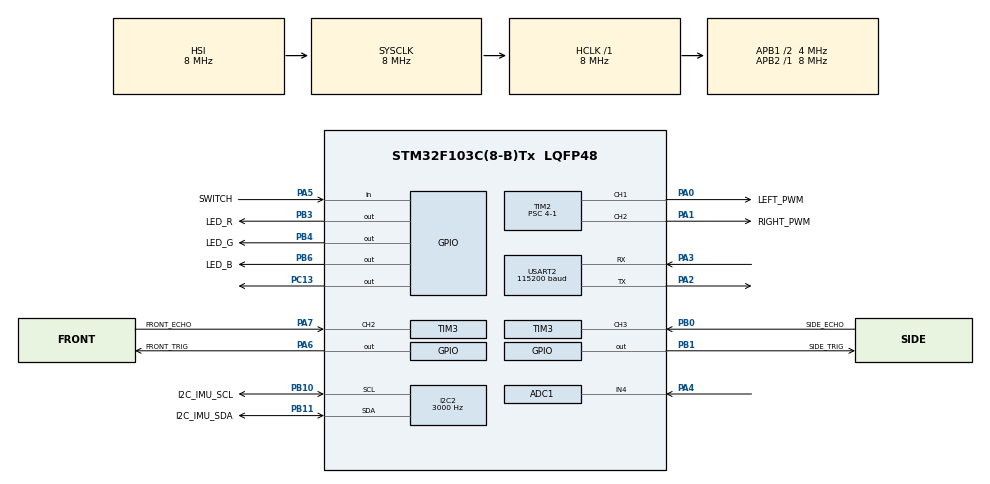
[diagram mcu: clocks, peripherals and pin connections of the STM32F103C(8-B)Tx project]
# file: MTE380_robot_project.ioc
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ADC1.Channel-2\#ChannelRegularConversion=ADC_CHANNEL_4
ADC1.NbrOfConversionFlag=1
ADC1.Rank-2\#ChannelRegularConversion=1
ADC1.SamplingTime-2\#ChannelRegularConversion=ADC_SAMPLETIME_1CYCLE_5
ADC1.master=1
I2C2.ClockSpeed=3000
I2C2.I2C_Mode=I2C_Standard
I2C2.OwnAddress=0x69
Mcu.Family=STM32F1
Mcu.Name=STM32F103C(8-B)Tx
Mcu.Package=LQFP48
NVIC.I2C2_ER_IRQn=true\:0\:0\:true\:false\:true\:true\:true\:true
NVIC.PriorityGroup=NVIC_PRIORITYGROUP_4
NVIC.TIM3_IRQn=true\:0\:0\:false\:false\:true\:true\:true\:true
NVIC.USART2_IRQn=true\:0\:0\:false\:false\:true\:true\:true\:true
PA0-WKUP.GPIO_Label=LEFT_PWM
PA0-WKUP.Signal=S_TIM2_CH1_ETR
PA1.GPIO_Label=RIGHT_PWM
PA1.Signal=S_TIM2_CH2
PA13.Mode=Serial_Wire
PA13.Signal=SYS_JTMS-SWDIO
PA14.Mode=Serial_Wire
PA14.Signal=SYS_JTCK-SWCLK
PA2.Mode=Asynchronous
PA2.Signal=USART2_TX
PA3.Mode=Asynchronous
PA3.Signal=USART2_RX
PA4.Signal=ADCx_IN4
PA5.GPIO_Label=SWITCH
PA5.Signal=GPIO_Input
PA6.GPIO_Label=FRONT_TRIG
PA6.GPIO_PuPd=GPIO_PULLDOWN
PA6.Signal=GPIO_Output
PA7.GPIO_Label=FRONT_ECHO
PA7.Signal=S_TIM3_CH2
PB0.GPIO_Label=SIDE_ECHO
PB0.Signal=S_TIM3_CH3
PB1.GPIO_Label=SIDE_TRIG
PB1.GPIO_PuPd=GPIO_PULLDOWN
PB1.Signal=GPIO_Output
PB10.GPIO_Label=I2C_IMU_SCL
PB10.GPIO_Pu=GPIO_PULLUP
PB10.Mode=I2C
PB10.Signal=I2C2_SCL
PB11.GPIO_Label=I2C_IMU_SDA
PB11.GPIO_Pu=GPIO_PULLUP
PB11.Mode=I2C
PB11.Signal=I2C2_SDA
PB3.GPIO_Label=LED_R
PB3.Signal=GPIO_Output
PB4.GPIO_Label=LED_G
PB4.Signal=GPIO_Output
PB6.GPIO_Label=LED_B
PB6.Signal=GPIO_Output
PC13-TAMPER-RTC.Signal=GPIO_Output
PC14-OSC32_IN.Signal=RCC_OSC32_IN
PC15-OSC32_OUT.Signal=RCC_OSC32_OUT
PD0-OSC_IN.Mode=HSE-External-Oscillator
PD0-OSC_IN.Signal=RCC_OSC_IN
PD1-OSC_OUT.Mode=HSE-External-Oscillator
PD1-OSC_OUT.Signal=RCC_OSC_OUT
ProjectManager.HeapSize=0x200
ProjectManager.StackSize=0x400
ProjectManager.TargetToolchain=STM32CubeIDE
RCC.ADCPresc=RCC_ADCPCLK2_DIV6
RCC.AHBFreq_Value=8000000
RCC.APB1CLKDivider=RCC_HCLK_DIV2
RCC.APB1Freq_Value=4000000
RCC.APB1TimFreq_Value=8000000
RCC.APB2Freq_Value=8000000
RCC.APB2TimFreq_Value=8000000
RCC.HCLKFreq_Value=8000000
RCC.SYSCLKFreq_VALUE=8000000
RCC.USBFreq_Value=8000000
SH.ADCx_IN4.0=ADC1_IN4,IN4
SH.S_TIM2_CH1_ETR.0=TIM2_CH1,PWM Generation1 CH1
SH.S_TIM2_CH2.0=TIM2_CH2,PWM Generation2 CH2
SH.S_TIM3_CH2.0=TIM3_CH2,Input_Capture2_from_TI2
SH.S_TIM3_CH3.0=TIM3_CH3,Input_Capture3_from_TI3
TIM2.AutoReloadPreload=TIM_AUTORELOAD_PRELOAD_ENABLE
TIM2.Channel-PWM\ Generation1\ CH1=TIM_CHANNEL_1
TIM2.Channel-PWM\ Generation2\ CH2=TIM_CHANNEL_2
TIM2.OCFastMode_PWM-PWM\ Generation2\ CH2=TIM_OCFAST_DISABLE
TIM2.OCMode_PWM-PWM\ Generation1\ CH1=TIM_OCMODE_PWM1
TIM2.Period=40000-1
TIM2.Prescaler=4-1
TIM2.Pulse-PWM\ Generation1\ CH1=2000
TIM2.Pulse-PWM\ Generation2\ CH2=2000
TIM3.AutoReloadPreload=TIM_AUTORELOAD_PRELOAD_ENABLE
TIM3.Channel-Input_Capture2_from_TI2=TIM_CHANNEL_2
TIM3.Channel-Input_Capture3_from_TI3=TIM_CHANNEL_3
TIM3.Prescaler=8-1
USART2.BaudRate=115200
USART2.VirtualMode=VM_ASYNC
VP_TIM2_VS_ClockSourceINT.Mode=Internal
VP_TIM3_VS_ClockSourceINT.Mode=Internal
board=custom

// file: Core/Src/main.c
/* USER CODE BEGIN Header */
/**
  ******************************************************************************
  * @file           : main.c
  * @brief          : Main program body
  ******************************************************************************
  * @attention
  *
  * <h2><center>&copy; Copyright (c) 2022 STMicroelectronics.
  * All rights reserved.</center></h2>
  *
  * This software component is licensed by ST under BSD 3-Clause license,
  * the "License"; You may not use this file except in compliance with the
  * License. You may obtain a copy of the License at:
  *                        opensource.org/licenses/BSD-3-Clause
  *
  ******************************************************************************
  */
/* USER CODE END Header */
#include "main.h"

 ADC_HandleTypeDef hadc1;

I2C_HandleTypeDef hi2c2;

TIM_HandleTypeDef htim2;
TIM_HandleTypeDef htim3;

UART_HandleTypeDef huart2;

void SystemClock_Config(void);
static void MX_GPIO_Init(void);
static void MX_USART2_UART_Init(void);
static void MX_I2C2_Init(void);
static void MX_ADC1_Init(void);
static void MX_TIM2_Init(void);
static void MX_TIM3_Init(void);
/* USER CODE BEGIN PFP */
void delay_us (uint32_t us);
/* USER CODE END PFP */

/* USER CODE BEGIN 0 */
void HAL_UART_RxCpltCallback(UART_HandleTypeDef *huart) {
	HAL_UART_Receive_IT(&huart2, UART2_rxBuffer, RX_BUFF_SIZE);
	ESP_Receive(&htim3, &hi2c2, &UART2_rxBuffer, &huart2);
	memset(UART2_rxBuffer, 0, RX_BUFF_SIZE);
}

void HAL_UART_ErrorCallback(UART_HandleTypeDef *huart) {
	HAL_UART_Receive_IT(&huart2, UART2_rxBuffer, RX_BUFF_SIZE);
}

/* USER CODE END 0 */

int main(void)
{
  /* USER CODE BEGIN 1 */
	uint8_t MSG[70] = { '\0' };
	double speed = 15;

  /* USER CODE END 1 */

  /* MCU Configuration--------------------------------------------------------*/

  /* Reset of all peripherals, Initializes the Flash interface and the Systick. */
  HAL_Init();

  /* Configure the system clock */
  SystemClock_Config();

  /* Initialize all configured peripherals */
  MX_GPIO_Init();
  MX_USART2_UART_Init();
  MX_I2C2_Init();
  MX_ADC1_Init();
  MX_TIM2_Init();
  MX_TIM3_Init();
  /* USER CODE BEGIN 2 */

  // Start Timer 2 for ESC signal
  HAL_TIM_Base_Start(&htim2);
  HAL_TIM_PWM_Start(&htim2, TIM_CHANNEL_1); // start PWM signal at 1ms (0 speed)
  HAL_TIM_PWM_Start(&htim2, TIM_CHANNEL_2); // start PWM signal at 1ms (0 speed)

  // Initialize Timer 3 for Ultrasonic sensors
  HAL_TIM_Base_Start_IT(&htim3);
  HAL_TIM_IC_Start_IT(&htim3, TIM_CHANNEL_2); // enable interrupt on TIM3 CH2
  HAL_TIM_IC_Start_IT(&htim3, TIM_CHANNEL_3); // enable interrupt on TIM3 CH3

//  // ESC Calibration Procedure
//  drive_forward(100);
//  HAL_Delay(6000);
//  stop();
  HAL_Delay(2000);

  // IMU Calibration
  ICM_PowerOn(&hi2c2);
  HAL_Delay(10);
  ICM20948_Calibrate(&hi2c2);
  HAL_Delay(100);
  ICM_SelectBank(&hi2c2, USER_BANK_0);
  HAL_Delay(1);

  HAL_UART_Receive_IT(&huart2, UART2_rxBuffer, RX_BUFF_SIZE); // where should this go?

  for (int i=0; i<5; i++){
	  HCSR04_Read_Front(&htim3);
	  double ultrasonic_dist = get_front_distance();
	  HAL_Delay(20);
	  HCSR04_Read_Side(&htim3);
	  ultrasonic_dist = get_side_distance();
	  HAL_Delay(20);
  }
  /* USER CODE END 2 */

  /* Infinite loop */
  /* USER CODE BEGIN WHILE */
  while (1)
  {
	IMU_Init();
	reset_pose();
	reset_PID_controller();
//    DRIVE DISTANCE WITH ULTRASONIC w TURN ----------------------
	HCSR04_Read_Front(&htim3);
	double ultrasonic_dist = get_front_distance();
	HAL_Delay(16);
	HCSR04_Read_Side(&htim3);
	double ultrasonic_dist_side = get_side_distance();
	HAL_Delay(16);
////	sprintf(MSG, "<F_ULT %4.3f >", ultrasonic_dist);
////	HAL_UART_Transmit(&huart2, MSG, sizeof(MSG), 100);
////	memset(MSG, 0, 70);
//	double dist_cm = 15;
//	double side_dist = 12;
//	drive_until(&htim3, &hi2c2, speed, dist_cm, side_dist); // distance in cm
//	turn_degree(&hi2c2, 90);
//	HAL_Delay(2000);

	drive_course(&htim3, &hi2c2, speed);
//	get_imu_data(&hi2c2);
//	for (int i = 0; i<400; i++){
//		drive_straight_PID(25, &hi2c2, curr_pose.yaw, curr_pose.dt);
//		HAL_Delay(10);
//	}
//	stop();

	HAL_Delay(5000);

// Just drive straight for a bit
//
//	accelerate(&htim3, &hi2c2, speed);
//
//	for (int i=0; i < 250; i++){
//		drive_straight_PID(speed, &hi2c2, curr_pose.yaw, curr_pose.dt);
//		get_imu_data(&hi2c2); // calculate yaw
//		HAL_Delay(10);
//	}
//
//	decelerate(&hi2c2, speed);

	// Print uWu

//	sprintf(MSG, "<dt %4.3f yaw %4.3f c_yaw %4.3f F_ULT %4.3f >", curr_pose.dt, curr_pose.yaw, -curr_pose.yaw - 90, ultrasonic_dist);
//	sprintf(MSG, "<dt %4.3f yaw %4.3f c_yaw %4.3f F_ULT %4.3f S_ULT %4.3f >\n", curr_pose.dt, curr_pose.yaw, -curr_pose.yaw - 90, ultrasonic_dist, ultrasonic_dist_side);
//	HAL_UART_Transmit(&huart2, MSG, sizeof(MSG), 100);
	HAL_Delay(3000);
	memset(MSG, 0, 70);

  // dashboard example ?
  // sprintf(MSG, "%4.3f %4.3f %4.3f %4.3f %4.3f %4.3f %4.3f \n", dt, yaw_main, front_dist, side_dist, corr_gyro_data[0], corr_gyro_data[1], corr_gyro_data[2]);
  // sprintf(MSG, "%4.3f %4.3f %4.3f %4.3f %4.3f %4.3f %4.3f \n", 1234.567, 1234.567, 1234.567, 1234.567, 1234.567, 1234.567, 1234.567);
  // sprintf(MSG, "%4.3f %4.3f %4.3f %4.3f %4.3f %4.3f %4.3f \n", 1234.567, 1234.567, 1234.567, 1234.567, 1234.567, 1234.567, 1234.567);
  // strcpy(MSG, "1234.567 1234.567 1234.567 1234.567 1234.567 1234.567 1234.567 \n");
  // HAL_UART_Transmit(&huart2, MSG, sizeof(MSG), 100);
  // memset(MSG, 0, 70);
  // strcpy(MSG, "0.0 0.0 0.0 0.0 0.0 0.0 0.0 \n");
  // HAL_UART_Transmit(&huart2, MSG, sizeof(MSG), 100);
  // HAL_GPIO_TogglePin(GPIOC, GPIO_PIN_13);
  // HAL_Delay(100);
  // memset(MSG, 0, 70);

    /* USER CODE END WHILE */

  }
}

void SystemClock_Config(void)
{
  RCC_OscInitTypeDef RCC_OscInitStruct = {0};
  RCC_ClkInitTypeDef RCC_ClkInitStruct = {0};
  RCC_PeriphCLKInitTypeDef PeriphClkInit = {0};

  /** Initializes the RCC Oscillators according to the specified parameters
  * in the RCC_OscInitTypeDef structure.
  */
  RCC_OscInitStruct.OscillatorType = RCC_OSCILLATORTYPE_HSI;
  RCC_OscInitStruct.HSIState = RCC_HSI_ON;
  RCC_OscInitStruct.HSICalibrationValue = RCC_HSICALIBRATION_DEFAULT;
  RCC_OscInitStruct.PLL.PLLState = RCC_PLL_NONE;
  if (HAL_RCC_OscConfig(&RCC_OscInitStruct) != HAL_OK)
  {
    Error_Handler();
  }

  /** Initializes the CPU, AHB and APB buses clocks
  */
  RCC_ClkInitStruct.ClockType = RCC_CLOCKTYPE_HCLK|RCC_CLOCKTYPE_SYSCLK
                              |RCC_CLOCKTYPE_PCLK1|RCC_CLOCKTYPE_PCLK2;
  RCC_ClkInitStruct.SYSCLKSource = RCC_SYSCLKSOURCE_HSI;
  RCC_ClkInitStruct.AHBCLKDivider = RCC_SYSCLK_DIV1;
  RCC_ClkInitStruct.APB1CLKDivider = RCC_HCLK_DIV2;
  RCC_ClkInitStruct.APB2CLKDivider = RCC_HCLK_DIV1;

  if (HAL_RCC_ClockConfig(&RCC_ClkInitStruct, FLASH_LATENCY_0) != HAL_OK)
  {
    Error_Handler();
  }
  PeriphClkInit.PeriphClockSelection = RCC_PERIPHCLK_ADC;
  PeriphClkInit.AdcClockSelection = RCC_ADCPCLK2_DIV6;
  if (HAL_RCCEx_PeriphCLKConfig(&PeriphClkInit) != HAL_OK)
  {
    Error_Handler();
  }
}

static void MX_ADC1_Init(void)
{

  ADC_ChannelConfTypeDef sConfig = {0};

  /** Common config
  */
  hadc1.Instance = ADC1;
  hadc1.Init.ScanConvMode = ADC_SCAN_DISABLE;
  hadc1.Init.ContinuousConvMode = DISABLE;
  hadc1.Init.DiscontinuousConvMode = DISABLE;
  hadc1.Init.ExternalTrigConv = ADC_SOFTWARE_START;
  hadc1.Init.DataAlign = ADC_DATAALIGN_RIGHT;
  hadc1.Init.NbrOfConversion = 1;
  if (HAL_ADC_Init(&hadc1) != HAL_OK)
  {
    Error_Handler();
  }

  /** Configure Regular Channel
  */
  sConfig.Channel = ADC_CHANNEL_4;
  sConfig.Rank = ADC_REGULAR_RANK_1;
  sConfig.SamplingTime = ADC_SAMPLETIME_1CYCLE_5;
  if (HAL_ADC_ConfigChannel(&hadc1, &sConfig) != HAL_OK)
  {
    Error_Handler();
  }

}

static void MX_I2C2_Init(void)
{

  hi2c2.Instance = I2C2;
  hi2c2.Init.ClockSpeed = 3000;
  hi2c2.Init.DutyCycle = I2C_DUTYCYCLE_2;
  hi2c2.Init.OwnAddress1 = 210;
  hi2c2.Init.AddressingMode = I2C_ADDRESSINGMODE_7BIT;
  hi2c2.Init.DualAddressMode = I2C_DUALADDRESS_DISABLE;
  hi2c2.Init.OwnAddress2 = 0;
  hi2c2.Init.GeneralCallMode = I2C_GENERALCALL_DISABLE;
  hi2c2.Init.NoStretchMode = I2C_NOSTRETCH_DISABLE;
  if (HAL_I2C_Init(&hi2c2) != HAL_OK)
  {
    Error_Handler();
  }

}

static void MX_TIM2_Init(void)
{

  TIM_ClockConfigTypeDef sClockSourceConfig = {0};
  TIM_MasterConfigTypeDef sMasterConfig = {0};
  TIM_OC_InitTypeDef sConfigOC = {0};

  htim2.Instance = TIM2;
  htim2.Init.Prescaler = 4-1;
  htim2.Init.CounterMode = TIM_COUNTERMODE_UP;
  htim2.Init.Period = 40000-1;
  htim2.Init.ClockDivision = TIM_CLOCKDIVISION_DIV1;
  htim2.Init.AutoReloadPreload = TIM_AUTORELOAD_PRELOAD_ENABLE;
  if (HAL_TIM_Base_Init(&htim2) != HAL_OK)
  {
    Error_Handler();
  }
  sClockSourceConfig.ClockSource = TIM_CLOCKSOURCE_INTERNAL;
  if (HAL_TIM_ConfigClockSource(&htim2, &sClockSourceConfig) != HAL_OK)
  {
    Error_Handler();
  }
  if (HAL_TIM_PWM_Init(&htim2) != HAL_OK)
  {
    Error_Handler();
  }
  sMasterConfig.MasterOutputTrigger = TIM_TRGO_RESET;
  sMasterConfig.MasterSlaveMode = TIM_MASTERSLAVEMODE_DISABLE;
  if (HAL_TIMEx_MasterConfigSynchronization(&htim2, &sMasterConfig) != HAL_OK)
  {
    Error_Handler();
  }
  sConfigOC.OCMode = TIM_OCMODE_PWM1;
  sConfigOC.Pulse = 2000;
  sConfigOC.OCPolarity = TIM_OCPOLARITY_HIGH;
  sConfigOC.OCFastMode = TIM_OCFAST_DISABLE;
  if (HAL_TIM_PWM_ConfigChannel(&htim2, &sConfigOC, TIM_CHANNEL_1) != HAL_OK)
  {
    Error_Handler();
  }
  if (HAL_TIM_PWM_ConfigChannel(&htim2, &sConfigOC, TIM_CHANNEL_2) != HAL_OK)
  {
    Error_Handler();
  }
  HAL_TIM_MspPostInit(&htim2);

}

static void MX_TIM3_Init(void)
{

  TIM_ClockConfigTypeDef sClockSourceConfig = {0};
  TIM_MasterConfigTypeDef sMasterConfig = {0};
  TIM_IC_InitTypeDef sConfigIC = {0};

  htim3.Instance = TIM3;
  htim3.Init.Prescaler = 8-1;
  htim3.Init.CounterMode = TIM_COUNTERMODE_UP;
  htim3.Init.Period = 65535;
  htim3.Init.ClockDivision = TIM_CLOCKDIVISION_DIV1;
  htim3.Init.AutoReloadPreload = TIM_AUTORELOAD_PRELOAD_ENABLE;
  if (HAL_TIM_Base_Init(&htim3) != HAL_OK)
  {
    Error_Handler();
  }
  sClockSourceConfig.ClockSource = TIM_CLOCKSOURCE_INTERNAL;
  if (HAL_TIM_ConfigClockSource(&htim3, &sClockSourceConfig) != HAL_OK)
  {
    Error_Handler();
  }
  if (HAL_TIM_IC_Init(&htim3) != HAL_OK)
  {
    Error_Handler();
  }
  sMasterConfig.MasterOutputTrigger = TIM_TRGO_RESET;
  sMasterConfig.MasterSlaveMode = TIM_MASTERSLAVEMODE_DISABLE;
  if (HAL_TIMEx_MasterConfigSynchronization(&htim3, &sMasterConfig) != HAL_OK)
  {
    Error_Handler();
  }
  sConfigIC.ICPolarity = TIM_INPUTCHANNELPOLARITY_RISING;
  sConfigIC.ICSelection = TIM_ICSELECTION_DIRECTTI;
  sConfigIC.ICPrescaler = TIM_ICPSC_DIV1;
  sConfigIC.ICFilter = 0;
  if (HAL_TIM_IC_ConfigChannel(&htim3, &sConfigIC, TIM_CHANNEL_2) != HAL_OK)
  {
    Error_Handler();
  }
  if (HAL_TIM_IC_ConfigChannel(&htim3, &sConfigIC, TIM_CHANNEL_3) != HAL_OK)
  {
    Error_Handler();
  }

}

static void MX_USART2_UART_Init(void)
{

  huart2.Instance = USART2;
  huart2.Init.BaudRate = 115200;
  huart2.Init.WordLength = UART_WORDLENGTH_8B;
  huart2.Init.StopBits = UART_STOPBITS_1;
  huart2.Init.Parity = UART_PARITY_NONE;
  huart2.Init.Mode = UART_MODE_TX_RX;
  huart2.Init.HwFlowCtl = UART_HWCONTROL_NONE;
  huart2.Init.OverSampling = UART_OVERSAMPLING_16;
  if (HAL_UART_Init(&huart2) != HAL_OK)
  {
    Error_Handler();
  }

}

static void MX_GPIO_Init(void)
{
  GPIO_InitTypeDef GPIO_InitStruct = {0};

  /* GPIO Ports Clock Enable */
  __HAL_RCC_GPIOC_CLK_ENABLE();
  __HAL_RCC_GPIOD_CLK_ENABLE();
  __HAL_RCC_GPIOA_CLK_ENABLE();
  __HAL_RCC_GPIOB_CLK_ENABLE();

  /*Configure GPIO pin Output Level */
  HAL_GPIO_WritePin(GPIOC, GPIO_PIN_13, GPIO_PIN_RESET);

  /*Configure GPIO pin Output Level */
  HAL_GPIO_WritePin(FRONT_TRIG_GPIO_Port, FRONT_TRIG_Pin, GPIO_PIN_RESET);

  /*Configure GPIO pin Output Level */
  HAL_GPIO_WritePin(GPIOB, SIDE_TRIG_Pin|LED_R_Pin|LED_G_Pin|LED_B_Pin, GPIO_PIN_RESET);

  /*Configure GPIO pin : PC13 */
  GPIO_InitStruct.Pin = GPIO_PIN_13;
  GPIO_InitStruct.Mode = GPIO_MODE_OUTPUT_PP;
  GPIO_InitStruct.Pull = GPIO_NOPULL;
  GPIO_InitStruct.Speed = GPIO_SPEED_FREQ_LOW;
  HAL_GPIO_Init(GPIOC, &GPIO_InitStruct);

  /*Configure GPIO pin : SWITCH_Pin */
  GPIO_InitStruct.Pin = SWITCH_Pin;
  GPIO_InitStruct.Mode = GPIO_MODE_INPUT;
  GPIO_InitStruct.Pull = GPIO_NOPULL;
  HAL_GPIO_Init(SWITCH_GPIO_Port, &GPIO_InitStruct);

  /*Configure GPIO pin : FRONT_TRIG_Pin */
  GPIO_InitStruct.Pin = FRONT_TRIG_Pin;
  GPIO_InitStruct.Mode = GPIO_MODE_OUTPUT_PP;
  GPIO_InitStruct.Pull = GPIO_PULLDOWN;
  GPIO_InitStruct.Speed = GPIO_SPEED_FREQ_LOW;
  HAL_GPIO_Init(FRONT_TRIG_GPIO_Port, &GPIO_InitStruct);

  /*Configure GPIO pin : SIDE_TRIG_Pin */
  GPIO_InitStruct.Pin = SIDE_TRIG_Pin;
  GPIO_InitStruct.Mode = GPIO_MODE_OUTPUT_PP;
  GPIO_InitStruct.Pull = GPIO_PULLDOWN;
  GPIO_InitStruct.Speed = GPIO_SPEED_FREQ_LOW;
  HAL_GPIO_Init(SIDE_TRIG_GPIO_Port, &GPIO_InitStruct);

  /*Configure GPIO pins : LED_R_Pin LED_G_Pin LED_B_Pin */
  GPIO_InitStruct.Pin = LED_R_Pin|LED_G_Pin|LED_B_Pin;
  GPIO_InitStruct.Mode = GPIO_MODE_OUTPUT_PP;
  GPIO_InitStruct.Pull = GPIO_NOPULL;
  GPIO_InitStruct.Speed = GPIO_SPEED_FREQ_LOW;
  HAL_GPIO_Init(GPIOB, &GPIO_InitStruct);

}

/* USER CODE BEGIN 4 */
void delay_us (uint32_t us)
{
	__HAL_TIM_SET_COUNTER(&htim3,0);  // set the counter value a 0
	while (__HAL_TIM_GET_COUNTER(&htim3) < us);  // wait for the counter to reach the us input in the parameter
}

void HAL_TIM_IC_CaptureCallback(TIM_HandleTypeDef *htim)
{
	if (htim->Instance == TIM3) // ultrasonic
	{
		HCSR04_timer_input_CC (htim);
	}

}

/* USER CODE END 4 */

void Error_Handler(void)
{
  __disable_irq();
  while (1)
  {
  }
}
